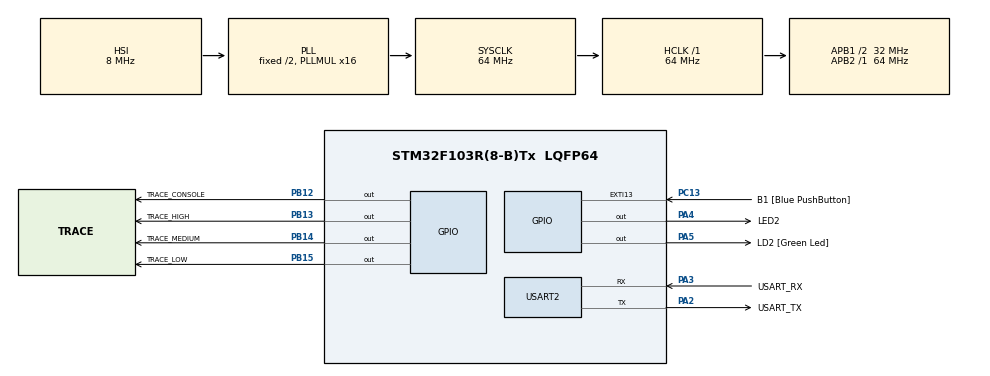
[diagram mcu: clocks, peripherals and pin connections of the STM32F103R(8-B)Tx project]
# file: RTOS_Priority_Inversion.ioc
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FREERTOS.Tasks01=ConsoleTask,40,384,ConsoleTask_Entry,Default,NULL,Dynamic,NULL,NULL;HighTask,32,128,HighTask_Entry,Default,NULL,Dynamic,NULL,NULL;MediumTask,24,128,MediumTask_Entry,Default,NULL,Dynamic,NULL,NULL;LowTask,16,128,LowTask_Entry,Default,NULL,Dynamic,NULL,NULL
FREERTOS.configCHECK_FOR_STACK_OVERFLOW=2
FREERTOS.configGENERATE_RUN_TIME_STATS=1
FREERTOS.configTOTAL_HEAP_SIZE=6144
FREERTOS.configUSE_APPLICATION_TASK_TAG=1
FREERTOS.configUSE_MALLOC_FAILED_HOOK=1
Mcu.Family=STM32F1
Mcu.Name=STM32F103R(8-B)Tx
Mcu.Package=LQFP64
NVIC.EXTI15_10_IRQn=true\:6\:0\:false\:false\:true\:true\:true\:true\:true
NVIC.PriorityGroup=NVIC_PRIORITYGROUP_4
NVIC.TIM4_IRQn=true\:15\:0\:false\:false\:true\:false\:false\:true\:true
NVIC.TimeBase=TIM4_IRQn
NVIC.TimeBaseIP=TIM4
NVIC.USART2_IRQn=true\:6\:0\:false\:false\:true\:true\:true\:true\:true
PA13.GPIO_Label=TMS
PA13.Signal=SYS_JTMS-SWDIO
PA14.GPIO_Label=TCK
PA14.Signal=SYS_JTCK-SWCLK
PA2.GPIO_Label=USART_TX
PA2.GPIO_Mode=GPIO_MODE_AF_PP
PA2.GPIO_PuPd=GPIO_NOPULL
PA2.GPIO_Speed=GPIO_SPEED_FREQ_LOW
PA2.Mode=Asynchronous
PA2.Signal=USART2_TX
PA3.GPIO_Label=USART_RX
PA3.GPIO_Mode=GPIO_MODE_AF_PP
PA3.GPIO_PuPd=GPIO_NOPULL
PA3.GPIO_Speed=GPIO_SPEED_FREQ_LOW
PA3.Mode=Asynchronous
PA3.Signal=USART2_RX
PA4.GPIO_Label=LED2
PA4.Signal=GPIO_Output
PA5.GPIO_Label=LD2 [Green Led]
PA5.GPIO_ModeDefaultOutputPP=GPIO_MODE_OUTPUT_PP
PA5.GPIO_PuPd=GPIO_NOPULL
PA5.GPIO_Speed=GPIO_SPEED_FREQ_LOW
PA5.Signal=GPIO_Output
PB12.GPIO_Label=TRACE_CONSOLE
PB12.GPIO_Speed=GPIO_SPEED_FREQ_HIGH
PB12.Signal=GPIO_Output
PB13.GPIO_Label=TRACE_HIGH
PB13.GPIO_Speed=GPIO_SPEED_FREQ_HIGH
PB13.Signal=GPIO_Output
PB14.GPIO_Label=TRACE_MEDIUM
PB14.GPIO_Speed=GPIO_SPEED_FREQ_HIGH
PB14.Signal=GPIO_Output
PB15.GPIO_Label=TRACE_LOW
PB15.GPIO_Speed=GPIO_SPEED_FREQ_HIGH
PB15.Signal=GPIO_Output
PB3.GPIO_Label=SWO
PB3.Signal=SYS_JTDO-TRACESWO
PC13-TAMPER-RTC.GPIO_Label=B1 [Blue PushButton]
PC13-TAMPER-RTC.GPIO_ModeDefaultEXTI=GPIO_MODE_IT_FALLING
PC13-TAMPER-RTC.GPIO_PuPd=GPIO_NOPULL
PC13-TAMPER-RTC.Signal=GPXTI13
PC14-OSC32_IN.Mode=LSE-External-Oscillator
PC14-OSC32_IN.Signal=RCC_OSC32_IN
PC15-OSC32_OUT.Mode=LSE-External-Oscillator
PC15-OSC32_OUT.Signal=RCC_OSC32_OUT
PD0-OSC_IN.Mode=HSE-External-Clock-Source
PD0-OSC_IN.Signal=RCC_OSC_IN
PD1-OSC_OUT.Mode=HSE-External-Clock-Source
PD1-OSC_OUT.Signal=RCC_OSC_OUT
ProjectManager.HeapSize=0x200
ProjectManager.StackSize=0x400
ProjectManager.TargetToolchain=STM32CubeIDE
RCC.AHBFreq_Value=64000000
RCC.APB1CLKDivider=RCC_HCLK_DIV2
RCC.APB1Freq_Value=32000000
RCC.APB1TimFreq_Value=64000000
RCC.APB2Freq_Value=64000000
RCC.APB2TimFreq_Value=64000000
RCC.HCLKFreq_Value=64000000
RCC.PLLMUL=RCC_PLL_MUL16
RCC.RTCClockSelection=RCC_RTCCLKSOURCE_LSE
RCC.SYSCLKFreq_VALUE=64000000
RCC.SYSCLKSource=RCC_SYSCLKSOURCE_PLLCLK
RCC.USBFreq_Value=64000000
USART2.VirtualMode=VM_ASYNC
VP_FREERTOS_VS_CMSIS_V2.Mode=CMSIS_V2
VP_SYS_VS_ND.Mode=No_Debug
VP_SYS_VS_tim4.Mode=TIM4
board=NUCLEO-F103RB

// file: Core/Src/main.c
/* USER CODE BEGIN Header */
/**
  ******************************************************************************
  * @file           : main.c
  * @brief          : FreeRTOS priority inversion: binary semaphore vs mutex
  ******************************************************************************
  *   console  (high)          serial shell, blocking-time reports
  *   high     (above normal)  needs the shared lock 2 ms into every 100 ms cycle
  *   medium   (normal)        CPU-bound for `medium` ms, needs no lock
  *   low      (below normal)  holds the shared lock for `hold` ms each cycle
  * The lock is a binary semaphore (priority inversion) or a mutex (priority
  * inheritance), switchable at run time. Every context switch drives a trace
  * pin (PB12..PB15) for a logic analyzer.
  *
  * Peripheral and RTOS objects below follow STM32CubeMX (RTOS_Priority_Inversion.ioc);
  * application code lives in app_inversion.c and USER CODE blocks.
  *
  * Author: Faizan Saleem Siddiqui (https://github.com/FaizanSSDQ)
  ******************************************************************************
  */
/* USER CODE END Header */
#include "main.h"
#include "cmsis_os.h"

/* USER CODE BEGIN Includes */
#include "app_inversion.h"
/* USER CODE END Includes */

UART_HandleTypeDef huart2;

/* Definitions for ConsoleTask */
osThreadId_t ConsoleTaskHandle;
const osThreadAttr_t ConsoleTask_attributes = {
  .name = "console",
  .stack_size = 384 * 4,
  .priority = (osPriority_t) osPriorityHigh,
};
/* Definitions for HighTask */
osThreadId_t HighTaskHandle;
const osThreadAttr_t HighTask_attributes = {
  .name = "high",
  .stack_size = 128 * 4,
  .priority = (osPriority_t) osPriorityAboveNormal,
};
/* Definitions for MediumTask */
osThreadId_t MediumTaskHandle;
const osThreadAttr_t MediumTask_attributes = {
  .name = "medium",
  .stack_size = 128 * 4,
  .priority = (osPriority_t) osPriorityNormal,
};
/* Definitions for LowTask */
osThreadId_t LowTaskHandle;
const osThreadAttr_t LowTask_attributes = {
  .name = "low",
  .stack_size = 128 * 4,
  .priority = (osPriority_t) osPriorityBelowNormal,
};

void SystemClock_Config(void);
static void MX_GPIO_Init(void);
static void MX_USART2_UART_Init(void);
void ConsoleTask_Entry(void *argument);
void HighTask_Entry(void *argument);
void MediumTask_Entry(void *argument);
void LowTask_Entry(void *argument);

int main(void)
{
  /* MCU Configuration--------------------------------------------------------*/

  /* Reset of all peripherals, Initializes the Flash interface and the Systick. */
  HAL_Init();

  /* Configure the system clock */
  SystemClock_Config();

  /* Initialize all configured peripherals */
  MX_GPIO_Init();
  MX_USART2_UART_Init();

  /* Init scheduler */
  osKernelInitialize();

  /* USER CODE BEGIN RTOS_QUEUES */
  app_init();
  /* USER CODE END RTOS_QUEUES */

  /* Create the thread(s) */
  /* creation of ConsoleTask */
  ConsoleTaskHandle = osThreadNew(ConsoleTask_Entry, NULL, &ConsoleTask_attributes);

  /* creation of HighTask */
  HighTaskHandle = osThreadNew(HighTask_Entry, NULL, &HighTask_attributes);

  /* creation of MediumTask */
  MediumTaskHandle = osThreadNew(MediumTask_Entry, NULL, &MediumTask_attributes);

  /* creation of LowTask */
  LowTaskHandle = osThreadNew(LowTask_Entry, NULL, &LowTask_attributes);

  /* USER CODE BEGIN RTOS_THREADS */
  app_register_tasks(ConsoleTaskHandle, HighTaskHandle, MediumTaskHandle, LowTaskHandle);
  /* USER CODE END RTOS_THREADS */

  /* Start scheduler */
  osKernelStart();

  /* We should never get here as control is now taken by the scheduler */
  /* Infinite loop */
  while (1)
  {

  }
}

void SystemClock_Config(void)
{
  RCC_OscInitTypeDef RCC_OscInitStruct = {0};
  RCC_ClkInitTypeDef RCC_ClkInitStruct = {0};

  /** Initializes the RCC Oscillators according to the specified parameters
  * in the RCC_OscInitTypeDef structure.
  */
  RCC_OscInitStruct.OscillatorType = RCC_OSCILLATORTYPE_HSI;
  RCC_OscInitStruct.HSIState = RCC_HSI_ON;
  RCC_OscInitStruct.HSICalibrationValue = RCC_HSICALIBRATION_DEFAULT;
  RCC_OscInitStruct.PLL.PLLState = RCC_PLL_ON;
  RCC_OscInitStruct.PLL.PLLSource = RCC_PLLSOURCE_HSI_DIV2;
  RCC_OscInitStruct.PLL.PLLMUL = RCC_PLL_MUL16;
  if (HAL_RCC_OscConfig(&RCC_OscInitStruct) != HAL_OK)
  {
    Error_Handler();
  }

  /** Initializes the CPU, AHB and APB buses clocks
  */
  RCC_ClkInitStruct.ClockType = RCC_CLOCKTYPE_HCLK|RCC_CLOCKTYPE_SYSCLK
                              |RCC_CLOCKTYPE_PCLK1|RCC_CLOCKTYPE_PCLK2;
  RCC_ClkInitStruct.SYSCLKSource = RCC_SYSCLKSOURCE_PLLCLK;
  RCC_ClkInitStruct.AHBCLKDivider = RCC_SYSCLK_DIV1;
  RCC_ClkInitStruct.APB1CLKDivider = RCC_HCLK_DIV2;
  RCC_ClkInitStruct.APB2CLKDivider = RCC_HCLK_DIV1;

  if (HAL_RCC_ClockConfig(&RCC_ClkInitStruct, FLASH_LATENCY_2) != HAL_OK)
  {
    Error_Handler();
  }
}

static void MX_USART2_UART_Init(void)
{
  huart2.Instance = USART2;
  huart2.Init.BaudRate = 115200;
  huart2.Init.WordLength = UART_WORDLENGTH_8B;
  huart2.Init.StopBits = UART_STOPBITS_1;
  huart2.Init.Parity = UART_PARITY_NONE;
  huart2.Init.Mode = UART_MODE_TX_RX;
  huart2.Init.HwFlowCtl = UART_HWCONTROL_NONE;
  huart2.Init.OverSampling = UART_OVERSAMPLING_16;
  if (HAL_UART_Init(&huart2) != HAL_OK)
  {
    Error_Handler();
  }
}

static void MX_GPIO_Init(void)
{
  GPIO_InitTypeDef GPIO_InitStruct = {0};

  /* GPIO Ports Clock Enable */
  __HAL_RCC_GPIOC_CLK_ENABLE();
  __HAL_RCC_GPIOD_CLK_ENABLE();
  __HAL_RCC_GPIOA_CLK_ENABLE();
  __HAL_RCC_GPIOB_CLK_ENABLE();

  /*Configure GPIO pin Output Level */
  HAL_GPIO_WritePin(GPIOA, LED2_Pin|LD2_Pin, GPIO_PIN_RESET);

  /*Configure GPIO pin Output Level */
  HAL_GPIO_WritePin(GPIOB, TRACE_CONSOLE_Pin|TRACE_HIGH_Pin|TRACE_MEDIUM_Pin|TRACE_LOW_Pin, GPIO_PIN_RESET);

  /*Configure GPIO pin : B1_Pin (pressed = low) */
  GPIO_InitStruct.Pin = B1_Pin;
  GPIO_InitStruct.Mode = GPIO_MODE_IT_FALLING;
  GPIO_InitStruct.Pull = GPIO_NOPULL;
  HAL_GPIO_Init(B1_GPIO_Port, &GPIO_InitStruct);

  /*Configure GPIO pins : LED2_Pin LD2_Pin */
  GPIO_InitStruct.Pin = LED2_Pin|LD2_Pin;
  GPIO_InitStruct.Mode = GPIO_MODE_OUTPUT_PP;
  GPIO_InitStruct.Pull = GPIO_NOPULL;
  GPIO_InitStruct.Speed = GPIO_SPEED_FREQ_LOW;
  HAL_GPIO_Init(GPIOA, &GPIO_InitStruct);

  /*Configure GPIO pins : TRACE_CONSOLE_Pin TRACE_HIGH_Pin TRACE_MEDIUM_Pin TRACE_LOW_Pin */
  GPIO_InitStruct.Pin = TRACE_CONSOLE_Pin|TRACE_HIGH_Pin|TRACE_MEDIUM_Pin|TRACE_LOW_Pin;
  GPIO_InitStruct.Mode = GPIO_MODE_OUTPUT_PP;
  GPIO_InitStruct.Pull = GPIO_NOPULL;
  GPIO_InitStruct.Speed = GPIO_SPEED_FREQ_HIGH;
  HAL_GPIO_Init(GPIOB, &GPIO_InitStruct);

  /* EXTI interrupt init (priority 6: may call FreeRTOS ISR API) */
  HAL_NVIC_SetPriority(EXTI15_10_IRQn, 6, 0);
  HAL_NVIC_EnableIRQ(EXTI15_10_IRQn);
}

void ConsoleTask_Entry(void *argument)
{
  /* USER CODE BEGIN ConsoleTask_Entry */
  app_console_task(argument);
  /* USER CODE END ConsoleTask_Entry */
}

void HighTask_Entry(void *argument)
{
  /* USER CODE BEGIN HighTask_Entry */
  app_high_task(argument);
  /* USER CODE END HighTask_Entry */
}

void MediumTask_Entry(void *argument)
{
  /* USER CODE BEGIN MediumTask_Entry */
  app_medium_task(argument);
  /* USER CODE END MediumTask_Entry */
}

void LowTask_Entry(void *argument)
{
  /* USER CODE BEGIN LowTask_Entry */
  app_low_task(argument);
  /* USER CODE END LowTask_Entry */
}

void HAL_TIM_PeriodElapsedCallback(TIM_HandleTypeDef *htim)
{
  if (htim->Instance == TIM4) {
    HAL_IncTick();
  }
}

void Error_Handler(void)
{
  __disable_irq();
  while (1)
  {
  }
}

#ifdef  USE_FULL_ASSERT
/**
  * @brief  Reports the name of the source file and the source line number
  *         where the assert_param error has occurred.
  * @param  file: pointer to the source file name
  * @param  line: assert_param error line source number
  * @retval None
  */
void assert_failed(uint8_t *file, uint32_t line)
{
  /* USER CODE BEGIN 6 */
  (void)file;
  (void)line;
  /* USER CODE END 6 */
}
#endif /* USE_FULL_ASSERT */

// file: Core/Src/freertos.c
/* USER CODE BEGIN Header */
/**
  ******************************************************************************
  * File Name          : freertos.c
  * Description        : Code for freertos applications
  ******************************************************************************
  * @attention
  *
  * Copyright (c) 2024 STMicroelectronics.
  * All rights reserved.
  *
  * This software is licensed under terms that can be found in the LICENSE file
  * in the root directory of this software component.
  * If no LICENSE file comes with this software, it is provided AS-IS.
  *
  ******************************************************************************
  */
/* USER CODE END Header */

#include "FreeRTOS.h"
#include "task.h"
#include "main.h"

/* USER CODE BEGIN Includes */
#include <stdint.h>

/* USER CODE END Includes */

/* USER CODE BEGIN Application */
/* Hook prototypes */
void configureTimerForRunTimeStats(void);
unsigned long getRunTimeCounterValue(void);
void vApplicationStackOverflowHook(TaskHandle_t xTask, signed char *pcTaskName);
void vApplicationMallocFailedHook(void);

/* Run-time statistics: the DWT cycle counter (64 MHz, wraps every 67 s;
   statistics are taken over 1 s windows, so the wrap is harmless). */
void configureTimerForRunTimeStats(void)
{
    CoreDebug->DEMCR |= CoreDebug_DEMCR_TRCENA_Msk;
    DWT->CYCCNT = 0u;
    DWT->CTRL |= DWT_CTRL_CYCCNTENA_Msk;
}

unsigned long getRunTimeCounterValue(void)
{
    return DWT->CYCCNT;
}

/* A stack overflow or failed allocation is a design error: stop with LD2 on. */
void vApplicationStackOverflowHook(TaskHandle_t xTask, signed char *pcTaskName)
{
    (void)xTask;
    (void)pcTaskName;
    taskDISABLE_INTERRUPTS();
    HAL_GPIO_WritePin(LD2_GPIO_Port, LD2_Pin, GPIO_PIN_SET);
    for (;;) {
    }
}

void vApplicationMallocFailedHook(void)
{
    taskDISABLE_INTERRUPTS();
    HAL_GPIO_WritePin(LD2_GPIO_Port, LD2_Pin, GPIO_PIN_SET);
    for (;;) {
    }
}

/* USER CODE END Application */
